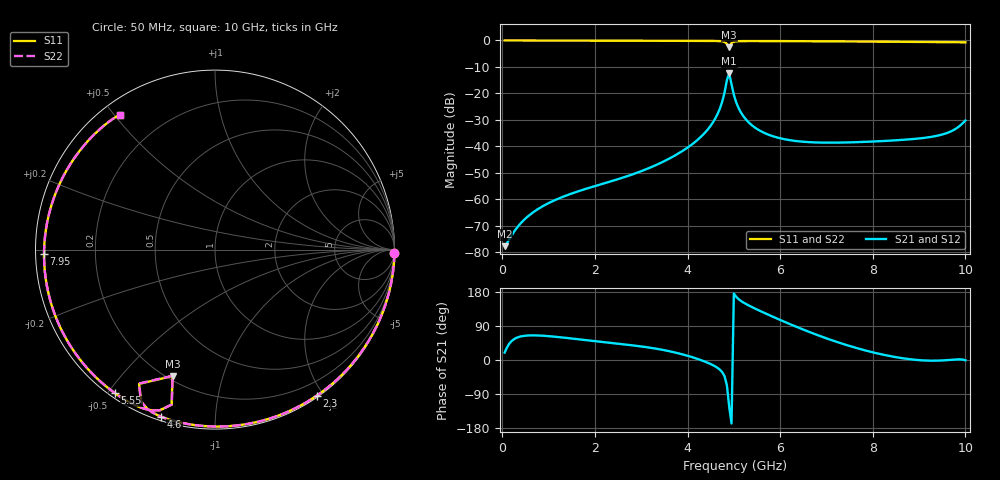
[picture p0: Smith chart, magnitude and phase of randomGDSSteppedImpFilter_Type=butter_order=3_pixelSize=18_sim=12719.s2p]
! freq	dB(S11)	phase(S11)	dB(S12)	phase(S12)
!  dB(S21)	phase(S21)	dB(S22)	phase(S22)
!S-par simulation data
#  GHz  S  DB  R 50
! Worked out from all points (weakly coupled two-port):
!   200 points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, 50 MHz to 10 GHz, reference 50 ohm
!   highest |S21| = -12.40 dB at 4.9 GHz (marker M1); lowest = -77.7 dB at 50 MHz (marker M2)
!   lowest |S11| = -2.6 dB at 4.9 GHz (marker M3), VSWR 6.80, Z = 11 - j34.8 ohm
!   |S11| at or under -10 dB: nowhere
!   |S22| runs from -2.6 to 0.0 dB; largest |S21 - S12| = 0
!   S11 on the Smith chart (normalised r, x): 50 MHz: 0, -93; 2.3 GHz: 0.02, -1.92; 4.6 GHz: 0.02, -0.73; 5.55 GHz: 0.02, -0.52; 7.95 GHz: 0.02, -0.01; 10 GHz: 0.05, +0.52
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0.05  -0.00 -1.2  -77.68 19.5  -77.68 19.5  -0.00 -1.2
0.35  -0.01 -8.6  -70.00 60.5  -70.00 60.5  -0.00 -8.6
0.65  -0.02 -15.9  -65.10 65.0  -65.10 65.0  -0.01 -15.9
1.1  -0.03 -26.8  -60.59 61.9  -60.59 61.9  -0.03 -26.8
1.75  -0.05 -42.3  -56.33 53.2  -56.33 53.2  -0.05 -42.3
2.3  -0.07 -55.1  -53.43 45.6  -53.43 45.6  -0.07 -55.1
3.4  -0.11 -80.1  -46.40 28.2  -46.40 28.2  -0.11 -80.1
4.15  -0.14 -96.9  -38.52 5.5  -38.52 5.5  -0.14 -96.9
4.6  -0.19 -107.8  -29.42 -17.0  -29.42 -17.0  -0.19 -107.9
4.75  -0.32 -113.1  -23.07 -32.3  -23.07 -32.3  -0.32 -113.2
4.85  -1.32 -119.5  -15.01 -66.7  -15.01 -66.7  -1.33 -119.6
4.9  -2.57 -108.6  -12.40 -123.7  -12.40 -123.7  -2.60 -108.5
4.95  -0.94 -105.6  -16.59 -167.4  -16.59 -167.4  -0.95 -105.6
5.05  -0.33 -111.5  -23.33 166.8  -23.33 166.8  -0.33 -111.4
5.25  -0.22 -117.7  -29.60 148.6  -29.60 148.6  -0.23 -117.7
5.55  -0.22 -124.8  -33.94 130.3  -33.94 130.3  -0.22 -124.9
6.05  -0.25 -135.9  -37.14 103.1  -37.14 103.1  -0.25 -135.9
6.7  -0.30 -150.0  -38.47 70.6  -38.47 70.6  -0.30 -150.1
7.95  -0.42 -178.5  -38.21 21.8  -38.21 21.8  -0.42 -178.6
8.35  -0.47 171.8  -37.86 10.9  -37.86 10.9  -0.47 171.7
9.5  -0.61 140.8  -35.52 -1.2  -35.52 -1.2  -0.61 140.7
10  -0.72 125.3  -30.24 -0.6  -30.24 -0.6  -0.72 125.1
